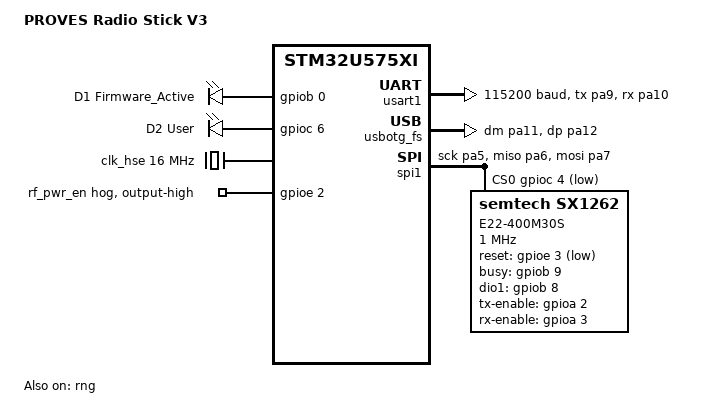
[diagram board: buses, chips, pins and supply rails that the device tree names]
/*
 * SPDX-License-Identifier: Apache-2.0
 */

/dts-v1/;

#include <st/u5/stm32u575Xi.dtsi>
#include <st/u5/stm32u575vitx-pinctrl.dtsi>
#include <zephyr/dt-bindings/lora/sx126x.h>

/ {
	model = "PROVES Radio Stick V3";
	compatible = "proves,radio-stick-v3";

	chosen {
		zephyr,console = &cdc_acm_uart0;
		zephyr,sram = &sram0;
		zephyr,flash = &flash0;
	};

	leds {
		compatible = "gpio-leds";

		led0: led_0 {
			gpios = <&gpiob 0 GPIO_ACTIVE_HIGH>;
			label = "D1 Firmware_Active";
		};

		led1: led_1 {
			gpios = <&gpioc 6 GPIO_ACTIVE_HIGH>;
			label = "D2 User";
		};
	};

	aliases {
		led0 = &led0;
		led1 = &led1;
		heartbeat-led = &led0;
		activity-led = &led1;
	};
};

&clk_hse {
	clock-frequency = <DT_FREQ_M(16)>;
	status = "okay";
};

&clk_lse {
	status = "okay";
};

/*
 * VCO 288 MHz: R = 144 MHz SYSCLK, Q = 48 MHz USB (no CRS for HSI48 in Zephyr).
 * 160 MHz with a 48 MHz Q output has no valid divider set (R must be 1 or even).
 */
&pll1 {
	div-m = <1>;
	mul-n = <18>;
	div-q = <6>;
	div-r = <2>;
	clocks = <&clk_hse>;
	status = "okay";
};

&rcc {
	clocks = <&pll1>;
	clock-frequency = <DT_FREQ_M(144)>;
	ahb-prescaler = <1>;
	apb1-prescaler = <1>;
	apb2-prescaler = <1>;
	apb3-prescaler = <1>;
};

&usart1 {
	pinctrl-0 = <&usart1_tx_pa9 &usart1_rx_pa10>;
	pinctrl-names = "default";
	current-speed = <115200>;
	status = "okay";
};

zephyr_udc0: &usbotg_fs {
	pinctrl-0 = <&usb_otg_fs_dm_pa11 &usb_otg_fs_dp_pa12>;
	pinctrl-names = "default";
	clocks = <&rcc STM32_CLOCK(AHB2, 14)>,
		 <&rcc STM32_SRC_PLL1_Q ICKLK_SEL(2)>;
	status = "okay";

	cdc_acm_uart0: cdc_acm_uart0 {
		compatible = "zephyr,cdc-acm-uart";
	};

	cdc_acm_uart1: cdc_acm_uart1 {
		compatible = "zephyr,cdc-acm-uart";
	};
};

&spi1 {
	pinctrl-0 = <&spi1_sck_pa5 &spi1_miso_pa6 &spi1_mosi_pa7>;
	pinctrl-names = "default";
	cs-gpios = <&gpioc 4 GPIO_ACTIVE_LOW>;
	status = "okay";

	lora0: sx1262@0 {
		/* Zephyr has no semtech,sx1268 binding; the SX1262 binding drives the SX1268. */
		compatible = "semtech,sx1262";
		reg = <0>;
		spi-max-frequency = <1000000>;
		reset-gpios = <&gpioe 3 GPIO_ACTIVE_LOW>;
		busy-gpios = <&gpiob 9 GPIO_ACTIVE_HIGH>;
		dio1-gpios = <&gpiob 8 GPIO_ACTIVE_HIGH>;
		tx-enable-gpios = <&gpioa 2 (GPIO_PULL_DOWN | GPIO_ACTIVE_HIGH)>;
		rx-enable-gpios = <&gpioa 3 (GPIO_PULL_DOWN | GPIO_ACTIVE_HIGH)>;
		dio3-tcxo-voltage = <SX126X_DIO3_TCXO_1V8>;
		tcxo-power-startup-delay-ms = <10>;
		rx-boosted;
		label = "E22-400M30S";
	};
};

&gpioe {
	rf_pwr_en {
		gpio-hog;
		gpios = <2 GPIO_ACTIVE_HIGH>;
		output-high;
	};
};

&rng {
	status = "okay";
};
